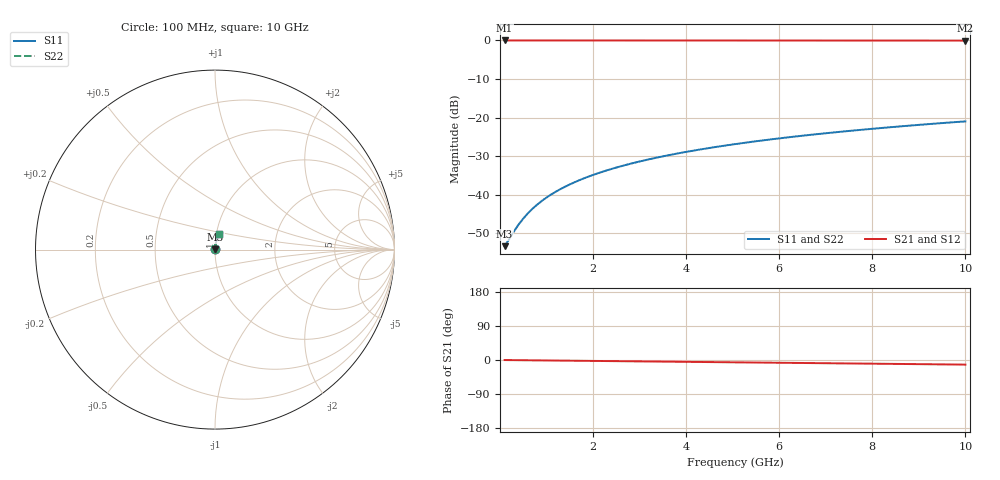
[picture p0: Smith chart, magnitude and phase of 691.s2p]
# Hz S RI R 50.00
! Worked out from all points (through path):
!   100 points, 100 MHz to 10 GHz, reference 50 ohm
!   highest |S21| = -0.02 dB at 100 MHz (marker M1); lowest = -0.1 dB at 10 GHz (marker M2)
!   group delay of S21, straight-line fit = 3.38 ps
!   lowest |S11| = -53.3 dB at 100 MHz (marker M3), VSWR 1.00, Z = 50.2 + j0.0896 ohm
!   |S11| at or under -10 dB: start of sweep to end of sweep
!   |S22| runs from -53.3 to -21.0 dB; largest |S21 - S12| = 0
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1e8  0.00196 0.000892  0.998 -0.00211  0.998 -0.00211  0.00196 0.000892
2e8  0.00198 0.00178  0.998 -0.00422  0.998 -0.00422  0.00198 0.00178
3e8  0.002 0.00268  0.998 -0.00633  0.998 -0.00633  0.002 0.00268
4e8  0.00202 0.00357  0.998 -0.00844  0.998 -0.00844  0.00202 0.00357
5e8  0.00204 0.00446  0.9979 -0.0106  0.9979 -0.0106  0.00204 0.00446
6e8  0.00207 0.00535  0.9979 -0.0127  0.9979 -0.0127  0.00207 0.00535
7e8  0.0021 0.00624  0.9979 -0.0148  0.9979 -0.0148  0.0021 0.00624
8e8  0.00213 0.00714  0.9978 -0.0169  0.9978 -0.0169  0.00213 0.00714
1e9  0.00221 0.00892  0.9977 -0.0211  0.9977 -0.0211  0.00221 0.00892
1.2e9  0.00229 0.0107  0.9976 -0.0253  0.9976 -0.0253  0.00229 0.0107
1.5e9  0.00246 0.0134  0.9974 -0.0317  0.9974 -0.0317  0.00246 0.0134
1.8e9  0.00265 0.016  0.9971 -0.038  0.9971 -0.038  0.00265 0.016
2.1e9  0.00288 0.0187  0.9968 -0.0443  0.9968 -0.0443  0.00288 0.0187
2.5e9  0.00323 0.0223  0.9963 -0.0528  0.9963 -0.0528  0.00323 0.0223
2.9e9  0.00365 0.0258  0.9957 -0.0612  0.9957 -0.0612  0.00365 0.0258
3.4e9  0.00425 0.0302  0.9948 -0.0717  0.9948 -0.0717  0.00425 0.0302
4.2e9  0.00541 0.0373  0.9932 -0.0886  0.9932 -0.0886  0.00541 0.0373
5.1e9  0.007 0.0452  0.991 -0.1075  0.991 -0.1075  0.007 0.0452
5.9e9  0.00866 0.0521  0.9887 -0.1242  0.9887 -0.1242  0.00866 0.0521
6.7e9  0.0106 0.059  0.986 -0.1409  0.986 -0.1409  0.0106 0.059
8.4e9  0.0154 0.0735  0.9792 -0.1763  0.9792 -0.1763  0.0154 0.0735
1e10  0.0209 0.0868  0.9715 -0.2093  0.9715 -0.2093  0.0209 0.0868
